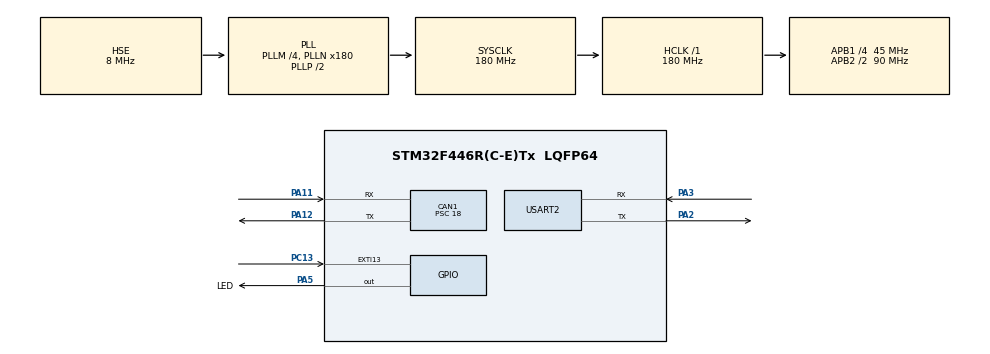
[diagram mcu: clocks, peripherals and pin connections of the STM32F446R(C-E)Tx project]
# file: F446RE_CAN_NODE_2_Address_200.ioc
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CAN1.BS1=CAN_BS1_2TQ
CAN1.BS2=CAN_BS2_2TQ
CAN1.CalculateBaudRate=500000
CAN1.CalculateTimeBit=2000
CAN1.CalculateTimeQuantum=400.0
CAN1.Prescaler=18
Mcu.Family=STM32F4
Mcu.Name=STM32F446R(C-E)Tx
Mcu.Package=LQFP64
NVIC.CAN1_RX0_IRQn=true\:0\:0\:false\:false\:true\:true\:true\:true
NVIC.EXTI15_10_IRQn=true\:0\:0\:false\:false\:true\:true\:true\:true
NVIC.PriorityGroup=NVIC_PRIORITYGROUP_0
PA11.Mode=CAN_Activate
PA11.Signal=CAN1_RX
PA12.Mode=CAN_Activate
PA12.Signal=CAN1_TX
PA2.Mode=Asynchronous
PA2.Signal=USART2_TX
PA3.Mode=Asynchronous
PA3.Signal=USART2_RX
PA5.GPIO_Label=LED
PA5.Signal=GPIO_Output
PC13.Signal=GPXTI13
PH0-OSC_IN.Mode=HSE-External-Oscillator
PH0-OSC_IN.Signal=RCC_OSC_IN
PH1-OSC_OUT.Mode=HSE-External-Oscillator
PH1-OSC_OUT.Signal=RCC_OSC_OUT
ProjectManager.HeapSize=0x200
ProjectManager.StackSize=0x400
ProjectManager.TargetToolchain=STM32CubeIDE
RCC.48MHZClocksFreq_Value=84000000
RCC.AHBFreq_Value=180000000
RCC.APB1CLKDivider=RCC_HCLK_DIV4
RCC.APB1Freq_Value=45000000
RCC.APB1TimFreq_Value=90000000
RCC.APB2CLKDivider=RCC_HCLK_DIV2
RCC.APB2Freq_Value=90000000
RCC.APB2TimFreq_Value=180000000
RCC.CortexFreq_Value=180000000
RCC.FLatency-AdvancedSettings=FLASH_LATENCY_5
RCC.HCLKFreq_Value=180000000
RCC.HSE_VALUE=8000000
RCC.HSI_VALUE=16000000
RCC.PLLM=4
RCC.PLLN=180
RCC.PLLSourceVirtual=RCC_PLLSOURCE_HSE
RCC.SYSCLKFreq_VALUE=180000000
RCC.SYSCLKSource=RCC_SYSCLKSOURCE_PLLCLK
RCC.USBFreq_Value=180000000
RCC.VCOOutputFreq_Value=360000000
USART2.VirtualMode=VM_ASYNC
board=NUCLEO-F446RE

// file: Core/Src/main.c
/* USER CODE BEGIN Header */
/**
  ******************************************************************************
  * @file           : main.c
  * @brief          : Main program body
  ******************************************************************************
  * @attention
  *
  * Copyright (c) 2024 STMicroelectronics.
  * All rights reserved.
  *
  * This software is licensed under terms that can be found in the LICENSE file
  * in the root directory of this software component.
  * If no LICENSE file comes with this software, it is provided AS-IS.
  *
  ******************************************************************************
  */
/* USER CODE END Header */
#include "main.h"

/* USER CODE BEGIN Includes */
#include <string.h>
#include <stdio.h>
/* USER CODE END Includes */

CAN_HandleTypeDef hcan1;

UART_HandleTypeDef huart2;

/* USER CODE BEGIN PV */

CAN_TxHeaderTypeDef TxHeader;
CAN_RxHeaderTypeDef RxHeader;

uint8_t TxData[8];
uint8_t RxData[8];

uint32_t TxMailBox;

uint8_t counter = 0;

uint8_t dataReceiveCheck = 0;

/* USER CODE END PV */

void SystemClock_Config(void);
static void MX_GPIO_Init(void);
static void MX_CAN1_Init(void);
static void MX_USART2_UART_Init(void);

/* USER CODE BEGIN 0 */

void HAL_GPIO_EXTI_Callback(uint16_t GPIO_Pin)
{
	if(GPIO_Pin == GPIO_PIN_13)
	{
//		  counter = counter + 5;
//		  TxData[0] = 1 + counter; // for loop
//		  TxData[1] = 50 + counter; // for delay
		  strcpy((char *)TxData,"HELLO11");
		  HAL_CAN_AddTxMessage(&hcan1, &TxHeader, TxData, &TxMailBox);
	}
}

//void HAL_CAN_RxFifo0MsgPendingCallback(CAN_HandleTypeDef *hcan)
//{
//	HAL_CAN_GetRxMessage(hcan, CAN_RX_FIFO0, &RxHeader, RxData);
//
//	if(RxHeader.DLC == 8)
//	{
//		dataReceiveCheck = 1;
//	}
//}
/* USER CODE END 0 */

int main(void)
{

  /* MCU Configuration--------------------------------------------------------*/

  /* Reset of all peripherals, Initializes the Flash interface and the Systick. */

	HAL_Init();

  /* Configure the system clock */
  SystemClock_Config();

  /* Initialize all configured peripherals */
  MX_GPIO_Init();
  MX_CAN1_Init();
  MX_USART2_UART_Init();
  /* USER CODE BEGIN 2 */
  HAL_CAN_Start(&hcan1);

  //HAL_CAN_ActivateNotification(&hcan1, CAN_IT_RX_FIFO0_MSG_PENDING);

  TxHeader.DLC = 8;
  TxHeader.StdId = 0x200;
  TxHeader.IDE = CAN_ID_STD;
  TxHeader.RTR = CAN_RTR_DATA;

  /* USER CODE END 2 */

  /* Infinite loop */
  /* USER CODE BEGIN WHILE */
  while (1)
  {
//	 if(dataReceiveCheck)
//	 {
////		 for(uint16_t i=0;i<RxData[0];i++)
////		 {
////			 HAL_GPIO_TogglePin(LED_GPIO_Port, LED_Pin);
////			 HAL_Delay(RxData[1]);
////		 }
//		 HAL_UART_Transmit(&huart2, RxData, 8, HAL_MAX_DELAY);
//		 dataReceiveCheck = 0;
//	 }
    /* USER CODE END WHILE */

  }
}

void SystemClock_Config(void)
{
  RCC_OscInitTypeDef RCC_OscInitStruct = {0};
  RCC_ClkInitTypeDef RCC_ClkInitStruct = {0};

  /** Configure the main internal regulator output voltage
  */
  __HAL_RCC_PWR_CLK_ENABLE();
  __HAL_PWR_VOLTAGESCALING_CONFIG(PWR_REGULATOR_VOLTAGE_SCALE1);

  /** Initializes the RCC Oscillators according to the specified parameters
  * in the RCC_OscInitTypeDef structure.
  */
  RCC_OscInitStruct.OscillatorType = RCC_OSCILLATORTYPE_HSE;
  RCC_OscInitStruct.HSEState = RCC_HSE_ON;
  RCC_OscInitStruct.PLL.PLLState = RCC_PLL_ON;
  RCC_OscInitStruct.PLL.PLLSource = RCC_PLLSOURCE_HSE;
  RCC_OscInitStruct.PLL.PLLM = 4;
  RCC_OscInitStruct.PLL.PLLN = 180;
  RCC_OscInitStruct.PLL.PLLP = RCC_PLLP_DIV2;
  RCC_OscInitStruct.PLL.PLLQ = 2;
  RCC_OscInitStruct.PLL.PLLR = 2;
  if (HAL_RCC_OscConfig(&RCC_OscInitStruct) != HAL_OK)
  {
    Error_Handler();
  }

  /** Activate the Over-Drive mode
  */
  if (HAL_PWREx_EnableOverDrive() != HAL_OK)
  {
    Error_Handler();
  }

  /** Initializes the CPU, AHB and APB buses clocks
  */
  RCC_ClkInitStruct.ClockType = RCC_CLOCKTYPE_HCLK|RCC_CLOCKTYPE_SYSCLK
                              |RCC_CLOCKTYPE_PCLK1|RCC_CLOCKTYPE_PCLK2;
  RCC_ClkInitStruct.SYSCLKSource = RCC_SYSCLKSOURCE_PLLCLK;
  RCC_ClkInitStruct.AHBCLKDivider = RCC_SYSCLK_DIV1;
  RCC_ClkInitStruct.APB1CLKDivider = RCC_HCLK_DIV4;
  RCC_ClkInitStruct.APB2CLKDivider = RCC_HCLK_DIV2;

  if (HAL_RCC_ClockConfig(&RCC_ClkInitStruct, FLASH_LATENCY_5) != HAL_OK)
  {
    Error_Handler();
  }
}

static void MX_CAN1_Init(void)
{

  hcan1.Instance = CAN1;
  hcan1.Init.Prescaler = 18;
  hcan1.Init.Mode = CAN_MODE_NORMAL;
  hcan1.Init.SyncJumpWidth = CAN_SJW_1TQ;
  hcan1.Init.TimeSeg1 = CAN_BS1_2TQ;
  hcan1.Init.TimeSeg2 = CAN_BS2_2TQ;
  hcan1.Init.TimeTriggeredMode = DISABLE;
  hcan1.Init.AutoBusOff = DISABLE;
  hcan1.Init.AutoWakeUp = DISABLE;
  hcan1.Init.AutoRetransmission = DISABLE;
  hcan1.Init.ReceiveFifoLocked = DISABLE;
  hcan1.Init.TransmitFifoPriority = DISABLE;
  if (HAL_CAN_Init(&hcan1) != HAL_OK)
  {
    Error_Handler();
  }
  /* USER CODE BEGIN CAN1_Init 2 */
//  CAN_FilterTypeDef sfilterConfig = {0};
//
//  sfilterConfig.FilterActivation = CAN_FILTER_ENABLE;
//  sfilterConfig.FilterBank = 18;
//  sfilterConfig.FilterFIFOAssignment = CAN_RX_FIFO0;
//  sfilterConfig.FilterIdHigh = 0x201 << 5;
//  sfilterConfig.FilterIdLow = 0x000;
//  sfilterConfig.FilterMaskIdHigh = 0x201 << 5;
//  sfilterConfig.FilterMaskIdLow = 0x000;
//  sfilterConfig.FilterMode = CAN_FILTERMODE_IDMASK;
//  sfilterConfig.FilterScale = CAN_FILTERSCALE_32BIT;
//  sfilterConfig.SlaveStartFilterBank = 0;
//
//  if(HAL_CAN_ConfigFilter(&hcan1, &sfilterConfig) != HAL_OK)
//  {
//	  Error_Handler();
//  }
  /* USER CODE END CAN1_Init 2 */

}

static void MX_USART2_UART_Init(void)
{

  huart2.Instance = USART2;
  huart2.Init.BaudRate = 115200;
  huart2.Init.WordLength = UART_WORDLENGTH_8B;
  huart2.Init.StopBits = UART_STOPBITS_1;
  huart2.Init.Parity = UART_PARITY_NONE;
  huart2.Init.Mode = UART_MODE_TX_RX;
  huart2.Init.HwFlowCtl = UART_HWCONTROL_NONE;
  huart2.Init.OverSampling = UART_OVERSAMPLING_16;
  if (HAL_UART_Init(&huart2) != HAL_OK)
  {
    Error_Handler();
  }

}

static void MX_GPIO_Init(void)
{
  GPIO_InitTypeDef GPIO_InitStruct = {0};

  /* GPIO Ports Clock Enable */
  __HAL_RCC_GPIOC_CLK_ENABLE();
  __HAL_RCC_GPIOH_CLK_ENABLE();
  __HAL_RCC_GPIOA_CLK_ENABLE();

  /*Configure GPIO pin Output Level */
  HAL_GPIO_WritePin(LED_GPIO_Port, LED_Pin, GPIO_PIN_RESET);

  /*Configure GPIO pin : PC13 */
  GPIO_InitStruct.Pin = GPIO_PIN_13;
  GPIO_InitStruct.Mode = GPIO_MODE_IT_RISING;
  GPIO_InitStruct.Pull = GPIO_NOPULL;
  HAL_GPIO_Init(GPIOC, &GPIO_InitStruct);

  /*Configure GPIO pin : LED_Pin */
  GPIO_InitStruct.Pin = LED_Pin;
  GPIO_InitStruct.Mode = GPIO_MODE_OUTPUT_PP;
  GPIO_InitStruct.Pull = GPIO_NOPULL;
  GPIO_InitStruct.Speed = GPIO_SPEED_FREQ_LOW;
  HAL_GPIO_Init(LED_GPIO_Port, &GPIO_InitStruct);

  /* EXTI interrupt init*/
  HAL_NVIC_SetPriority(EXTI15_10_IRQn, 0, 0);
  HAL_NVIC_EnableIRQ(EXTI15_10_IRQn);

}

void Error_Handler(void)
{
  __disable_irq();
  while (1)
  {
  }
}
